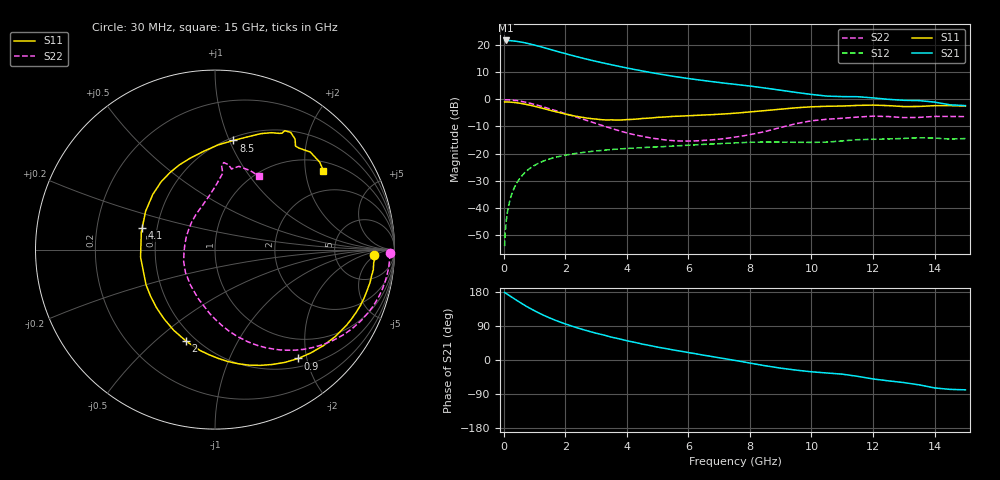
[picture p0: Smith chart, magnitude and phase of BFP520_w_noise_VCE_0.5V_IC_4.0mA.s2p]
! Infineon Technologies  Discrete & RF Semiconductors
! BFP520
! VCE =  0.5 V,  IC =  4.0 mA
! Common Emitter S-Parameters:  Oct 2015
# GHz  S  MA  R  50
!  f  S11  S21  S12  S22
! GHz  MAG  ANG  MAG  ANG  MAG  ANG  MAG  ANG
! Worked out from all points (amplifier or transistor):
!   109 points, 30 MHz to 15 GHz, reference 50 ohm
!   highest |S21| = 21.6 dB at 70 MHz (marker M1)
!   |S21| within 3 dB of that: start of sweep to 1.421 GHz
!   unconditionally stable (mu >= 1): 4.147 GHz to end of sweep
!   at 450 MHz: K = 0.12, MSG = 25.7 dB, |S12| = -30.3 dB
!   at 4 GHz: K = 0.97, MSG = 14.8 dB, |S12| = -18.1 dB
!   at 15 GHz: K = 1.47, MAG = 2.0 dB, |S12| = -14.5 dB
!   lowest NFmin = 1.09 dB at 900 MHz
!   S11 on the Smith chart (normalised r, x): 30 MHz: 16, -4; 900 MHz: 0.64, -1.85; 2 GHz: 0.44, -0.63; 4.1 GHz: 0.41, +0.12; 8.5 GHz: 0.53, +1.04; 15 GHz: 1.27, +2.51
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0.03  0.8879 -1.8  11.92 178.4  0.002 89.5  0.9735 -1.2
0.07  0.8887 -4.3  11.95 175.9  0.0048 87.4  0.9746 -3.0
0.25  0.8773 -15.1  11.81 166.6  0.0173 81.8  0.9639 -11.0
0.45  0.853 -27.0  11.44 156.0  0.0305 75.0  0.9352 -19.8
0.7  0.807 -41.5  10.79 143.5  0.0456 67.1  0.8806 -30.2
0.9  0.7635 -52.6  10.16 134.4  0.0561 61.3  0.8282 -37.8
1.1  0.7161 -63.3  9.501 125.8  0.0653 56.0  0.773 -44.8
1.3  0.6707 -73.7  8.851 118.0  0.0733 51.4  0.7176 -51.3
1.6  0.6044 -88.8  7.92 107.4  0.0831 45.2  0.6368 -60.2
2  0.5342 -107.6  6.859 95.3  0.0936 38.4  0.5431 -70.6
2.2  0.5053 -117.0  6.392 89.8  0.098 35.5  0.5009 -75.5
2.6  0.4594 -135.2  5.596 79.7  0.1056 30.4  0.4245 -84.8
3  0.4315 -152.9  4.945 70.7  0.1121 25.8  0.3576 -94.7
3.5  0.4169 -174.2  4.283 60.3  0.119 20.5  0.2907 -108.3
4.1  0.4231 163.5  3.647 49.2  0.1253 15.0  0.2327 -127.6
5.1  0.4661 136.4  2.867 32.6  0.1338 7.5  0.183 -162.2
6.5  0.5122 112.8  2.193 12.6  0.1476 -2.0  0.1752 155.7
7.6  0.557 94.8  1.847 -2.3  0.1581 -10.1  0.2043 127.9
8.5  0.617 80.4  1.597 -15.2  0.1634 -17.9  0.255 106.0
10.5  0.7398 61.1  1.138 -34.3  0.1628 -28.0  0.4277 84.2
13  0.7306 52.1  0.952 -59.6  0.1901 -45.6  0.4581 78.4
15  0.7466 36.0  0.761 -78.7  0.1892 -60.2  0.4776 58.9
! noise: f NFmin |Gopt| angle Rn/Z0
0.45  1.12  0.53  3  0.34
0.9  1.09  0.51  11  0.35
1.9  1.34  0.42  23  0.3
2.4  1.4  0.38  35  0.29
3.5  1.35  0.36  58  0.27
